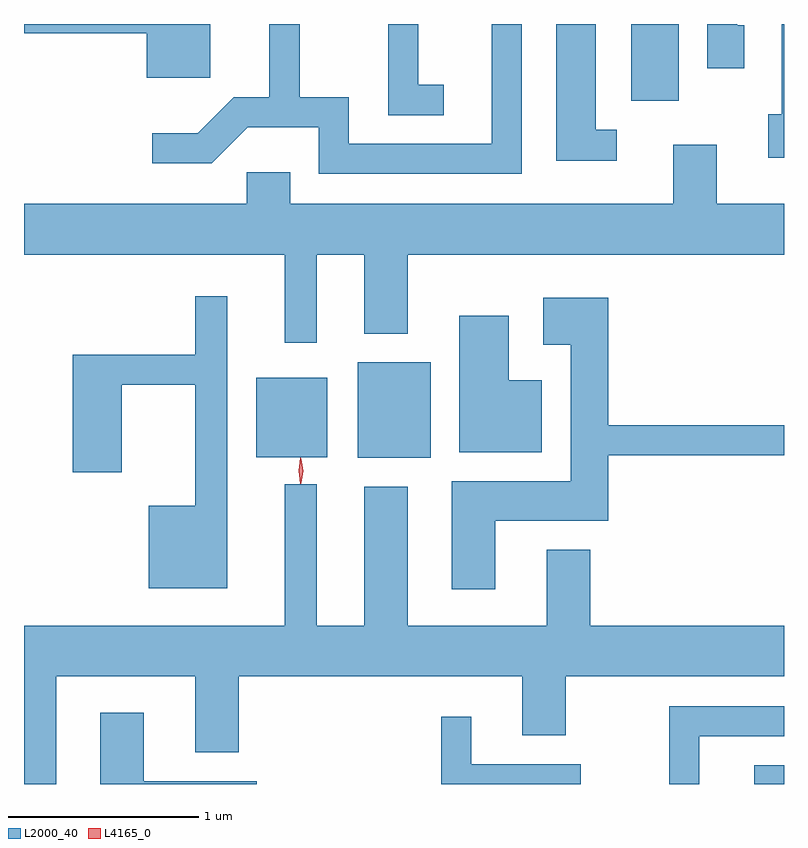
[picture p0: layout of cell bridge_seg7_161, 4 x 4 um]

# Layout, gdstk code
import gdstk
lib = gdstk.Library(unit=1e-6, precision=1e-09)
def R(c, l, rs):  # rectangles x0, y0, x1, y1
    for r in rs: c.add(gdstk.rectangle(r[:2], r[2:], *l))
def P(c, l, *ps):  # polygons
    for p in ps: c.add(gdstk.Polygon(p, *l))
L2000_40 = (2000, 40)
L4165_0 = (4165, 0)

bridge_seg7_161 = lib.new_cell('bridge_seg7_161')
R(bridge_seg7_161, L2000_40, [(1632.993,1731.51,1633.149,1731.609), (1630.906,1733.226,1631.289,1733.729), (1630.371,1733.231,1630.744,1733.649), (1632.346,1735.106,1632.594,1735.51)])
P(bridge_seg7_161, L2000_40, [(1631.358,1735.189),(1631.224,1735.189),(1631.224,1735.51),(1631.066,1735.51),(1631.066,1735.031),(1631.358,1735.031)],
  [(1632.268,1734.954),(1632.159,1734.954),(1632.159,1735.51),(1631.951,1735.51),(1631.951,1734.791),(1632.268,1734.791)],
  [(1631.769,1735.51),(1631.611,1735.51),(1631.611,1734.879),(1630.859,1734.879),(1630.859,1735.124),(1630.599,1735.124),(1630.599,1735.51),(1630.441,1735.51),(1630.441,1735.124),(1630.254,1735.124),(1630.064,1734.934),(1629.823,1734.934),(1629.823,1734.776),(1630.137,1734.776),(1630.327,1734.966),(1630.701,1734.966),(1630.701,1734.721),(1631.769,1734.721)],
  [(1630.129,1735.51),(1629.149,1735.51),(1629.149,1735.461),(1629.796,1735.461),(1629.796,1735.226),(1630.129,1735.226)],
  [(1633.149,1735.51),(1633.136,1735.51),(1633.136,1735.034),(1633.066,1735.034),(1633.066,1734.806),(1633.149,1734.806)],
  [(1632.939,1735.504),(1632.904,1735.504),(1632.904,1735.51),(1632.746,1735.51),(1632.746,1735.276),(1632.939,1735.276)],
  [(1630.689,1734.296),(1630.941,1734.296),(1630.941,1733.881),(1631.169,1733.881),(1631.169,1734.296),(1633.149,1734.296),(1633.149,1734.564),(1632.794,1734.564),(1632.794,1734.874),(1632.566,1734.874),(1632.566,1734.564),(1630.549,1734.564),(1630.549,1734.729),(1630.321,1734.729),(1630.321,1734.564),(1629.149,1734.564),(1629.149,1734.296),(1630.521,1734.296),(1630.521,1733.833),(1630.689,1733.833)],
  [(1630.219,1734.078),(1630.051,1734.078),(1630.051,1733.769),(1629.406,1733.769),(1629.406,1733.151),(1629.664,1733.151),(1629.664,1733.611),(1630.051,1733.611),(1630.051,1732.974),(1629.806,1732.974),(1629.806,1732.541),(1630.219,1732.541)],
  [(1631.629,1732.896),(1632.224,1732.896),(1632.224,1733.241),(1633.149,1733.241),(1633.149,1733.399),(1632.224,1733.399),(1632.224,1734.069),(1631.881,1734.069),(1631.881,1733.821),(1632.026,1733.821),(1632.026,1733.104),(1631.401,1733.104),(1631.401,1732.536),(1631.629,1732.536)],
  [(1631.874,1733.634),(1631.699,1733.634),(1631.699,1733.974),(1631.441,1733.974),(1631.441,1733.256),(1631.874,1733.256)],
  [(1629.319,1732.076),(1630.051,1732.076),(1630.051,1731.676),(1630.279,1731.676),(1630.279,1732.076),(1631.771,1732.076),(1631.771,1731.766),(1631.999,1731.766),(1631.999,1732.076),(1633.149,1732.076),(1633.149,1732.344),(1632.129,1732.344),(1632.129,1732.744),(1631.901,1732.744),(1631.901,1732.344),(1631.169,1732.344),(1631.169,1733.074),(1630.941,1733.074),(1630.941,1732.344),(1630.689,1732.344),(1630.689,1733.088),(1630.521,1733.088),(1630.521,1732.344),(1629.149,1732.344),(1629.149,1731.51),(1629.319,1731.51)],
  [(1632.704,1731.761),(1633.149,1731.761),(1633.149,1731.919),(1632.546,1731.919),(1632.546,1731.51),(1632.704,1731.51)],
  [(1630.374,1731.524),(1629.779,1731.524),(1629.779,1731.884),(1629.551,1731.884),(1629.551,1731.51),(1630.374,1731.51)],
  [(1632.079,1731.614),(1631.504,1731.614),(1631.504,1731.863),(1631.346,1731.863),(1631.346,1731.51),(1632.079,1731.51)])
P(bridge_seg7_161, L4165_0, [(1630.604,1733.09),(1630.604,1733.09),(1630.594,1733.158),(1630.604,1733.226),(1630.604,1733.226),(1630.605,1733.226),(1630.614,1733.158),(1630.605,1733.09)],
  [(1630.608,1733.093),(1630.599,1733.157),(1630.608,1733.222),(1630.609,1733.222),(1630.609,1733.222),(1630.619,1733.157),(1630.609,1733.093),(1630.609,1733.093)])

lib.write_gds('bridge_seg7_161.gds')
